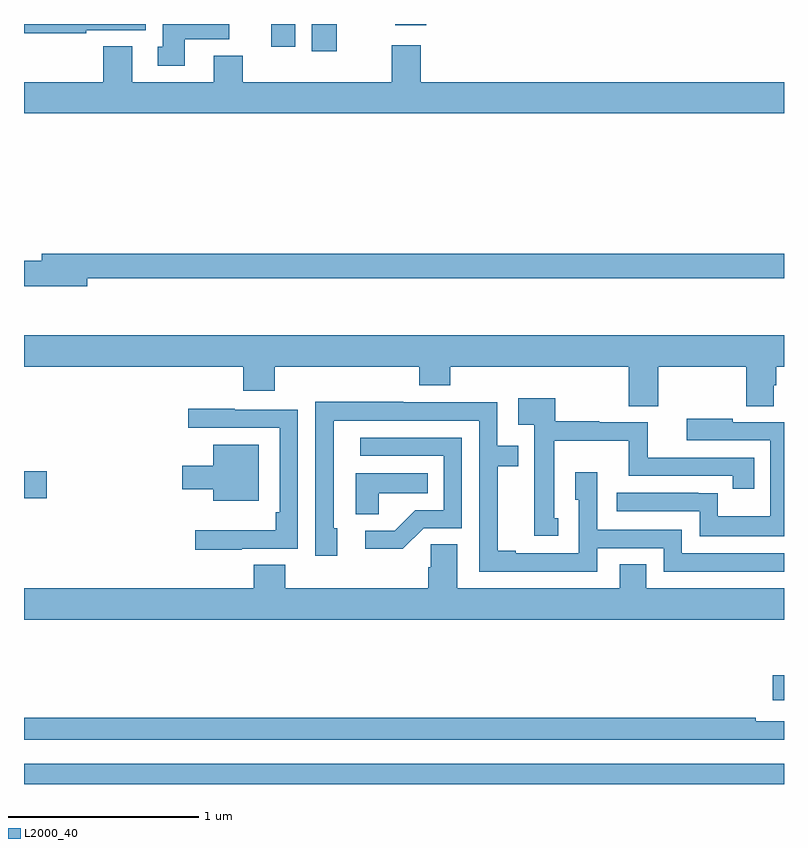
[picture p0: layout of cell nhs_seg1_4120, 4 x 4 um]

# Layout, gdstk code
import gdstk
lib = gdstk.Library(unit=1e-6, precision=1e-09)
def R(c, l, rs):  # rectangles x0, y0, x1, y1
    for r in rs: c.add(gdstk.rectangle(r[:2], r[2:], *l))
def P(c, l, *ps):  # polygons
    for p in ps: c.add(gdstk.Polygon(p, *l))
L2000_40 = (2000, 40)

nhs_seg1_4120 = lib.new_cell('nhs_seg1_4120')
R(nhs_seg1_4120, L2000_40, [(335,552.199,339,552.306), (338.94,552.641,339,552.771), (335,553.702,335.119,553.844), (336.515,556.056,336.646,556.199), (336.302,556.08,336.427,556.199), (336.954,556.193,337.117,556.199)])
P(nhs_seg1_4120, L2000_40, [(335.845,556.118),(336.081,556.118),(336.081,556.199),(335.729,556.199),(335.729,556.08),(335.705,556.08),(335.705,555.978),(335.845,555.978)],
  [(335.328,556.166),(335.641,556.166),(335.641,556.199),(335,556.199),(335,556.151),(335.328,556.151)],
  [(339,555.892),(337.088,555.892),(337.088,556.087),(336.935,556.087),(336.935,555.892),(336.152,555.892),(336.152,556.033),(335.999,556.033),(335.999,555.892),(335.569,555.892),(335.569,556.081),(335.417,556.081),(335.417,555.892),(335,555.892),(335,555.728),(339,555.728)],
  [(335.332,554.862),(339,554.862),(339,554.99),(335.093,554.99),(335.093,554.954),(335,554.954),(335,554.819),(335.332,554.819)],
  [(338.337,554.396),(338.8,554.396),(338.8,554.188),(338.947,554.188),(338.947,554.298),(338.96,554.298),(338.96,554.396),(339,554.396),(339,554.56),(335,554.56),(335,554.396),(336.155,554.396),(336.155,554.268),(336.32,554.268),(336.32,554.396),(337.079,554.396),(337.079,554.297),(337.244,554.297),(337.244,554.396),(338.182,554.396),(338.182,554.188),(338.337,554.188)],
  [(337.813,553.599),(337.792,553.599),(337.792,554.006),(338.183,554.006),(338.183,553.821),(338.73,553.821),(338.73,553.752),(338.843,553.752),(338.843,553.917),(338.282,553.917),(338.282,554.103),(338.028,554.103),(338.028,554.108),(337.795,554.108),(337.795,554.23),(337.602,554.23),(337.602,554.09),(337.686,554.09),(337.686,553.994),(337.685,553.994),(337.685,553.506),(337.813,553.506)],
  [(338.016,553.44),(338.367,553.44),(338.367,553.317),(339,553.317),(339,553.413),(338.463,553.413),(338.463,553.536),(338.016,553.536),(338.016,553.84),(337.901,553.84),(337.901,553.695),(337.92,553.695),(337.92,553.413),(337.588,553.413),(337.588,553.426),(337.493,553.426),(337.493,553.872),(337.6,553.872),(337.6,553.98),(337.491,553.98),(337.491,554.208),(336.995,554.208),(336.995,554.21),(336.534,554.21),(336.534,553.401),(336.649,553.401),(336.649,553.545),(336.63,553.545),(336.63,554.112),(337.395,554.112),(337.395,553.317),(338.016,553.317)],
  [(336.145,553.437),(336.441,553.437),(336.441,554.169),(336.109,554.169),(336.109,554.173),(335.865,554.173),(335.865,554.073),(336.345,554.073),(336.345,553.63),(336.325,553.63),(336.325,553.534),(335.901,553.534),(335.901,553.433),(336.145,553.433)],
  [(339,554.103),(338.731,554.103),(338.731,554.122),(338.487,554.122),(338.487,554.007),(338.928,554.007),(338.928,553.609),(338.652,553.609),(338.652,553.73),(338.549,553.73),(338.549,553.731),(338.121,553.731),(338.121,553.635),(338.556,553.635),(338.556,553.502),(339,553.502)],
  [(337.104,553.545),(337.305,553.545),(337.305,554.022),(336.771,554.022),(336.771,553.926),(337.209,553.926),(337.209,553.641),(337.059,553.641),(336.951,553.533),(336.795,553.533),(336.795,553.436),(336.994,553.436)],
  [(336.235,553.984),(335.996,553.984),(335.996,553.873),(335.832,553.873),(335.832,553.751),(335.996,553.751),(335.996,553.691),(336.235,553.691)],
  [(336.868,553.73),(337.124,553.73),(337.124,553.834),(336.746,553.834),(336.746,553.618),(336.868,553.618)],
  [(339,553.228),(338.275,553.228),(338.275,553.355),(338.135,553.355),(338.135,553.228),(337.279,553.228),(337.279,553.46),(337.141,553.46),(337.141,553.34),(337.127,553.34),(337.127,553.228),(336.374,553.228),(336.374,553.352),(336.209,553.352),(336.209,553.228),(335,553.228),(335,553.064),(339,553.064)],
  [(339,552.528),(338.852,552.528),(338.852,552.548),(335,552.548),(335,552.432),(339,552.432)])

lib.write_gds('nhs_seg1_4120.gds')
